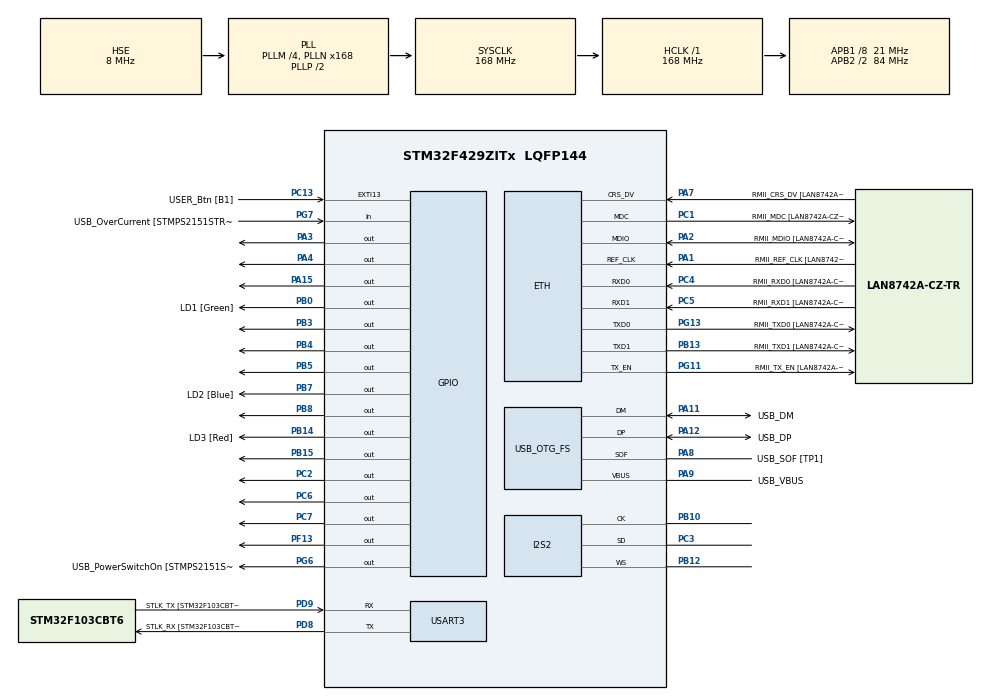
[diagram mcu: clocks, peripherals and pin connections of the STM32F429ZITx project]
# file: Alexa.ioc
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Dma.Request0=SPI2_RX
Dma.SPI2_RX.0.Direction=DMA_PERIPH_TO_MEMORY
Dma.SPI2_RX.0.FIFOMode=DMA_FIFOMODE_DISABLE
Dma.SPI2_RX.0.Instance=DMA1_Stream3
Dma.SPI2_RX.0.MemDataAlignment=DMA_MDATAALIGN_HALFWORD
Dma.SPI2_RX.0.MemInc=DMA_MINC_ENABLE
Dma.SPI2_RX.0.Mode=DMA_CIRCULAR
Dma.SPI2_RX.0.PeriphDataAlignment=DMA_PDATAALIGN_HALFWORD
Dma.SPI2_RX.0.PeriphInc=DMA_PINC_DISABLE
Dma.SPI2_RX.0.Priority=DMA_PRIORITY_HIGH
ETH.MediaInterface=HAL_ETH_RMII_MODE
ETH.PHY_Name=LAN8742A_PHY_ADDRESS
ETH.PHY_Value=0
ETH.PhyAddress=0
I2S2.AudioFreq=I2S_AUDIOFREQ_16K
I2S2.DataFormat=I2S_DATAFORMAT_24B
I2S2.ErrorAudioFreq=-0.26 %
I2S2.FullDuplexMode=I2S_FULLDUPLEXMODE_DISABLE
I2S2.Instance=SPI$Index
I2S2.Mode=I2S_MODE_MASTER_RX
I2S2.RealAudioFreq=15.957 KHz
I2S2.VirtualMode=I2S_MODE_MASTER
Mcu.Family=STM32F4
Mcu.Name=STM32F429ZITx
Mcu.Package=LQFP144
NVIC.DMA1_Stream3_IRQn=true\:0\:0\:false\:false\:true\:false\:true\:true
NVIC.PriorityGroup=NVIC_PRIORITYGROUP_4
PA1.GPIO_Label=RMII_REF_CLK [LAN8742A-CZ-TR_REFCLK0]
PA1.Mode=RMII
PA1.Signal=ETH_REF_CLK
PA10.GPIO_Label=USB_ID
PA10.Signal=USB_OTG_FS_ID
PA11.GPIO_Label=USB_DM
PA11.Mode=Device_Only
PA11.Signal=USB_OTG_FS_DM
PA12.GPIO_Label=USB_DP
PA12.Mode=Device_Only
PA12.Signal=USB_OTG_FS_DP
PA13.GPIO_Label=TMS
PA13.Mode=Serial_Wire
PA13.Signal=SYS_JTMS-SWDIO
PA14.GPIO_Label=TCK
PA14.Mode=Serial_Wire
PA14.Signal=SYS_JTCK-SWCLK
PA15.PinState=GPIO_PIN_SET
PA15.Signal=GPIO_Output
PA2.GPIO_Label=RMII_MDIO [LAN8742A-CZ-TR_MDIO]
PA2.Mode=RMII
PA2.Signal=ETH_MDIO
PA3.PinState=GPIO_PIN_SET
PA3.Signal=GPIO_Output
PA4.PinState=GPIO_PIN_SET
PA4.Signal=GPIO_Output
PA7.GPIO_Label=RMII_CRS_DV [LAN8742A-CZ-TR_CRS_DV]
PA7.Mode=RMII
PA7.Signal=ETH_CRS_DV
PA8.GPIO_Label=USB_SOF [TP1]
PA8.Mode=Activate_SOF_FS
PA8.Signal=USB_OTG_FS_SOF
PA9.GPIO_Label=USB_VBUS
PA9.Mode=Activate_VBUS
PA9.Signal=USB_OTG_FS_VBUS
PB0.GPIO_Label=LD1 [Green]
PB0.Signal=GPIO_Output
PB10.Mode=Half_Duplex_Master
PB10.Signal=I2S2_CK
PB12.Mode=Half_Duplex_Master
PB12.Signal=I2S2_WS
PB13.GPIO_Label=RMII_TXD1 [LAN8742A-CZ-TR_TXD1]
PB13.Mode=RMII
PB13.Signal=ETH_TXD1
PB14.GPIO_Label=LD3 [Red]
PB14.PinState=GPIO_PIN_SET
PB14.Signal=GPIO_Output
PB15.PinState=GPIO_PIN_SET
PB15.Signal=GPIO_Output
PB3.PinState=GPIO_PIN_SET
PB3.Signal=GPIO_Output
PB4.PinState=GPIO_PIN_SET
PB4.Signal=GPIO_Output
PB5.PinState=GPIO_PIN_SET
PB5.Signal=GPIO_Output
PB7.GPIO_Label=LD2 [Blue]
PB7.Signal=GPIO_Output
PB8.Signal=GPIO_Output
PC1.GPIO_Label=RMII_MDC [LAN8742A-CZ-TR_MDC]
PC1.Mode=RMII
PC1.Signal=ETH_MDC
PC13.GPIO_Label=USER_Btn [B1]
PC13.Signal=GPXTI13
PC14/OSC32_IN.Mode=LSE-External-Oscillator
PC14/OSC32_IN.Signal=RCC_OSC32_IN
PC15/OSC32_OUT.Mode=LSE-External-Oscillator
PC15/OSC32_OUT.Signal=RCC_OSC32_OUT
PC2.Signal=GPIO_Output
PC3.Mode=Half_Duplex_Master
PC3.Signal=I2S2_SD
PC4.GPIO_Label=RMII_RXD0 [LAN8742A-CZ-TR_RXD0]
PC4.Mode=RMII
PC4.Signal=ETH_RXD0
PC5.GPIO_Label=RMII_RXD1 [LAN8742A-CZ-TR_RXD1]
PC5.Mode=RMII
PC5.Signal=ETH_RXD1
PC6.PinState=GPIO_PIN_SET
PC6.Signal=GPIO_Output
PC7.PinState=GPIO_PIN_SET
PC7.Signal=GPIO_Output
PD8.GPIO_Label=STLK_RX [STM32F103CBT6_PA3]
PD8.Mode=Asynchronous
PD8.Signal=USART3_TX
PD9.GPIO_Label=STLK_TX [STM32F103CBT6_PA2]
PD9.Mode=Asynchronous
PD9.Signal=USART3_RX
PF13.PinState=GPIO_PIN_SET
PF13.Signal=GPIO_Output
PG11.GPIO_Label=RMII_TX_EN [LAN8742A-CZ-TR_TXEN]
PG11.Mode=RMII
PG11.Signal=ETH_TX_EN
PG13.GPIO_Label=RMII_TXD0 [LAN8742A-CZ-TR_TXD0]
PG13.Mode=RMII
PG13.Signal=ETH_TXD0
PG6.GPIO_Label=USB_PowerSwitchOn [STMPS2151STR_EN]
PG6.Signal=GPIO_Output
PG7.GPIO_Label=USB_OverCurrent [STMPS2151STR_FAULT]
PG7.Signal=GPIO_Input
PH0/OSC_IN.GPIO_Label=MCO [STM32F103CBT6_PA8]
PH0/OSC_IN.Mode=HSE-External-Clock-Source
PH0/OSC_IN.Signal=RCC_OSC_IN
PH1/OSC_OUT.Mode=HSE-External-Clock-Source
PH1/OSC_OUT.Signal=RCC_OSC_OUT
ProjectManager.HeapSize=0x200
ProjectManager.StackSize=0x400
ProjectManager.TargetToolchain=STM32CubeIDE
RCC.48MHZClocksFreq_Value=48000000
RCC.AHBFreq_Value=168000000
RCC.APB1CLKDivider=RCC_HCLK_DIV8
RCC.APB1Freq_Value=21000000
RCC.APB1TimFreq_Value=42000000
RCC.APB2CLKDivider=RCC_HCLK_DIV2
RCC.APB2Freq_Value=84000000
RCC.APB2TimFreq_Value=168000000
RCC.CortexFreq_Value=168000000
RCC.HCLKFreq_Value=168000000
RCC.HSE_VALUE=8000000
RCC.HSI_VALUE=16000000
RCC.PLLM=4
RCC.PLLMUL=RCC_PLL_MUL9
RCC.PLLN=168
RCC.PLLQ=7
RCC.PRESCALERUSB=RCC_USBCLKSOURCE_PLL_DIV1_5
RCC.SYSCLKFreq_VALUE=168000000
RCC.SYSCLKSource=RCC_SYSCLKSOURCE_PLLCLK
RCC.SYSCLKSourceVirtual=RCC_SYSCLKSOURCE_PLLCLK
RCC.USBFreq_Value=48000000
RCC.VCOOutputFreq_Value=336000000
TIM4.Prescaler=420
USART3.VirtualMode=VM_ASYNC
USB_OTG_FS.VirtualMode=Device_Only
VP_TIM4_VS_ClockSourceINT.Mode=Internal
board=NUCLEO-F429ZI

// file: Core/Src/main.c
/* USER CODE BEGIN Header */
/**
  ******************************************************************************
  * @file           : main.c
  * @brief          : Main program body
  ******************************************************************************
  * @attention
  *
  * Copyright (c) 2025 STMicroelectronics.
  * All rights reserved.
  *
  * This software is licensed under terms that can be found in the LICENSE file
  * in the root directory of this software component.
  * If no LICENSE file comes with this software, it is provided AS-IS.
  *
  ******************************************************************************
  */
/* USER CODE END Header */
#include "main.h"
#include "string.h"

/* USER CODE BEGIN Includes */
#include "radio.h"

/* USER CODE END Includes */

ETH_TxPacketConfig TxConfig;
ETH_DMADescTypeDef  DMARxDscrTab[ETH_RX_DESC_CNT]; /* Ethernet Rx DMA Descriptors */
ETH_DMADescTypeDef  DMATxDscrTab[ETH_TX_DESC_CNT]; /* Ethernet Tx DMA Descriptors */

ETH_HandleTypeDef heth;

I2S_HandleTypeDef hi2s2;
DMA_HandleTypeDef hdma_spi2_rx;

TIM_HandleTypeDef htim4;

UART_HandleTypeDef huart3;

PCD_HandleTypeDef hpcd_USB_OTG_FS;

/* USER CODE BEGIN PV */

TIM_HandleTypeDef* GLOBAL_TIMER = &htim4;

/* USER CODE END PV */

void SystemClock_Config(void);
static void MX_GPIO_Init(void);
static void MX_DMA_Init(void);
static void MX_ETH_Init(void);
static void MX_USART3_UART_Init(void);
static void MX_USB_OTG_FS_PCD_Init(void);
static void MX_TIM4_Init(void);
static void MX_I2S2_Init(void);

/* USER CODE BEGIN 0 */
volatile uint16_t dmaBuffer[2*DMA_BUFFER_SIZE];
volatile int32_t audioData[AUDIO_DATA_SIZE];
volatile int32_t recording[AUDIO_DATA_SIZE];
volatile unsigned int audioWritePos = 0;
volatile unsigned int thresholdPos = 0;
volatile bool recordingProcessing = 0;
volatile bool halfCallbackDone = 0;
volatile bool keywordRecording = 0;

void circularBufferToRecording()
{
	//we must reorder the array to become usable
    int firstPart = AUDIO_DATA_SIZE - thresholdPos;

    memcpy(recording, audioData + thresholdPos, firstPart * sizeof(int32_t));
    memcpy(recording + firstPart, audioData, thresholdPos * sizeof(int32_t));
}

int32_t convertBufferToSample(const uint16_t* pBlockStart)
{
	//takes one LR block at the specified address (4*16 bits) and converts it to one mono audio sample datum (32 bit)
	//start position: address of beginning of array + halfCallbackDone*(DMA_BUFFER_SIZE/2); loop for (DMA_BUFFER_SIZE/2) values

	//use the left channel bits (ignore upper 2*16 bits)
	uint16_t highWord = pBlockStart[0]; // most significant word (MSW)
	uint16_t lowWord  = pBlockStart[1]; // least significant word (LSW)

	// shift high word to the left and combine with low word
	int32_t leftChannel = (int32_t)(highWord << 16) | lowWord;

	// 14 bit right shift to scale and correct for the sign (arithmetic shift)
	return leftChannel >> 14;

}

void saveSample(int32_t level)
{
	int curWritePos = audioWritePos % AUDIO_DATA_SIZE;
	if(level>THRESHOLD_VALUE && !keywordRecording && !recordingProcessing)
	{
		keywordRecording = 1; //we have started the recording
		thresholdPos = curWritePos; //this can be modified to be at an earlier position later on as to not cut the audio off when being triggered
	}
	else if(curWritePos==thresholdPos && keywordRecording)
	{
		recordingProcessing = 1; //we can now fully utilize the data for processing
		circularBufferToRecording();
		keywordRecording=0;
	}

	audioData[curWritePos] = level;
	audioWritePos++;
}

void visualizeAudio(int32_t level)
{
	if (level<THRESHOLD_VALUE) LightLEDs(0); //clamp to 0 as it is below the minimum
	else if (level>MAX_LEVEL) LightLEDs(10); //clamp to 10 as it is above the maximum
	else LightLEDs((uint8_t)(10 * (level-THRESHOLD_VALUE) / (MAX_LEVEL-THRESHOLD_VALUE))); // 10 times the percentage of the overshoot from the threshold
}

void bufferLoop()
{
	uint16_t* bufferStart = dmaBuffer + halfCallbackDone*DMA_BUFFER_SIZE/2; //figure out what the base address is based on which callback fires
	int32_t bufferMax = 0;
	// loop over half of the elements of the dma buffer
	for (int i=0; i<DMA_BUFFER_SIZE/2; i+=4)
	{
		int32_t sampleValue = convertBufferToSample(&bufferStart[i]);
		saveSample(sampleValue);
		if (bufferMax<sampleValue) bufferMax=sampleValue;
	}
	visualizeAudio(bufferMax);
}

void stopRecording()
{
	//error
	HAL_I2S_DMAStop(&hi2s2);
	HAL_GPIO_TogglePin(GPIOB, GPIO_PIN_14);
	HAL_GPIO_TogglePin(GPIOB, GPIO_PIN_7);
	HAL_GPIO_TogglePin(GPIOB, GPIO_PIN_0);
	HAL_Delay(250);
}

void HAL_I2S_RxHalfCpltCallback(I2S_HandleTypeDef *hi2s)
{
	//FOR DEBUGGING PURPOSES - REMOVE AFTERWARDS
	//HAL_I2S_DMAStop(&hi2s2);
	////////////////////////////////////////////

	if (halfCallbackDone) stopRecording(); //the last callback was too slow for the recording: make the buffer bigger
	if (hi2s->Instance == SPI2) // check whether the correct peripheral was triggered
	{
		bufferLoop();
	}
	halfCallbackDone = 1;
}

void HAL_I2S_RxCpltCallback(I2S_HandleTypeDef *hi2s)
{
	if (!halfCallbackDone) stopRecording(); //the last callback was too slow for the recording: make the buffer bigger
	if (hi2s->Instance == SPI2) // check whether the correct peripheral was triggered
	{
		bufferLoop();
	}
	halfCallbackDone = 0;
    // recording done
//    if (hi2s->Instance == SPI2) // I2S2
//    {
//        is_recording_complete = true;
//    }
    //is_recording_complete = true;
    //HAL_GPIO_TogglePin(GPIOB, GPIO_PIN_0);
    //HAL_GPIO_TogglePin(GPIOB, GPIO_PIN_0);
    //HAL_Delay(250);

}

/* USER CODE END 0 */

int main(void)
{

  /* MCU Configuration--------------------------------------------------------*/

  /* Reset of all peripherals, Initializes the Flash interface and the Systick. */
  HAL_Init();

  /* Configure the system clock */
  SystemClock_Config();

  /* Initialize all configured peripherals */
  MX_GPIO_Init();
  MX_DMA_Init();
  MX_ETH_Init();
  MX_USART3_UART_Init();
  MX_USB_OTG_FS_PCD_Init();
  MX_TIM4_Init();
  MX_I2S2_Init();
  /* USER CODE BEGIN 2 */

  HAL_Delay(2000); //delay for testing purposes
  HAL_I2S_Receive_DMA(&hi2s2, dmaBuffer, DMA_BUFFER_SIZE); //start the recording

  /*
  LightLEDs(0);
  delay350Microseconds(4);
  LightLEDs(2);
  delay350Microseconds(4);
  LightLEDs(4);
  delay350Microseconds(4);
  LightLEDs(6);
  delay350Microseconds(4);
  LightLEDs(8);
  delay350Microseconds(4);
  LightLEDs(10);
  */

  sendSequence(0b111111000010);
  /* USER CODE END 2 */

  /* Infinite loop */
  /* USER CODE BEGIN WHILE */
  while (1)
  {
	  if(audioWritePos>(2*AUDIO_DATA_SIZE-1))
	  {
		//FOR DEBUGGING PURPOSES - REMOVE AFTERWARDS
		  HAL_I2S_DMAStop(&hi2s2);
		  float sum = 0.0f;
		  for (int i=0; i<AUDIO_DATA_SIZE; i++)
		  {
			  sum += audioData[i];
		  }
		  float average = sum / AUDIO_DATA_SIZE;
		  HAL_I2S_DMAStop(&hi2s2);
		  // loud: -7276
		  // silent: -7852.10156;
		////////////////////////////////////////////
	  }

	  //this is the part that processes the recording
	  {
		  //LLM-function(recording)
		  recordingProcessing = 0; //we are ready for a new recording, since we have just processed the old one
	  }

	  //	  if (is_recording_complete)
	  //	  {
	  //		// Stoppt den DMA, sobald die 1-Sekunden-Aufnahme abgeschlossen ist
	  //	  HAL_GPIO_TogglePin(GPIOB, GPIO_PIN_0);
	  //
	  //	  HAL_I2S_DMAStop(&hi2s2);
	  //	  HAL_Delay(250);
	  //	  is_recording_complete = false;
	  //	  }
    /* USER CODE END WHILE */

    /* USER CODE BEGIN 3 */
	 sendSequence(0b111111000010);
  }
  /* USER CODE END 3 */
}

void SystemClock_Config(void)
{
  RCC_OscInitTypeDef RCC_OscInitStruct = {0};
  RCC_ClkInitTypeDef RCC_ClkInitStruct = {0};

  /** Configure the main internal regulator output voltage
  */
  __HAL_RCC_PWR_CLK_ENABLE();
  __HAL_PWR_VOLTAGESCALING_CONFIG(PWR_REGULATOR_VOLTAGE_SCALE1);

  /** Initializes the RCC Oscillators according to the specified parameters
  * in the RCC_OscInitTypeDef structure.
  */
  RCC_OscInitStruct.OscillatorType = RCC_OSCILLATORTYPE_HSE;
  RCC_OscInitStruct.HSEState = RCC_HSE_BYPASS;
  RCC_OscInitStruct.PLL.PLLState = RCC_PLL_ON;
  RCC_OscInitStruct.PLL.PLLSource = RCC_PLLSOURCE_HSE;
  RCC_OscInitStruct.PLL.PLLM = 4;
  RCC_OscInitStruct.PLL.PLLN = 168;
  RCC_OscInitStruct.PLL.PLLP = RCC_PLLP_DIV2;
  RCC_OscInitStruct.PLL.PLLQ = 7;
  if (HAL_RCC_OscConfig(&RCC_OscInitStruct) != HAL_OK)
  {
    Error_Handler();
  }

  /** Initializes the CPU, AHB and APB buses clocks
  */
  RCC_ClkInitStruct.ClockType = RCC_CLOCKTYPE_HCLK|RCC_CLOCKTYPE_SYSCLK
                              |RCC_CLOCKTYPE_PCLK1|RCC_CLOCKTYPE_PCLK2;
  RCC_ClkInitStruct.SYSCLKSource = RCC_SYSCLKSOURCE_PLLCLK;
  RCC_ClkInitStruct.AHBCLKDivider = RCC_SYSCLK_DIV1;
  RCC_ClkInitStruct.APB1CLKDivider = RCC_HCLK_DIV8;
  RCC_ClkInitStruct.APB2CLKDivider = RCC_HCLK_DIV2;

  if (HAL_RCC_ClockConfig(&RCC_ClkInitStruct, FLASH_LATENCY_5) != HAL_OK)
  {
    Error_Handler();
  }
}

static void MX_ETH_Init(void)
{

   static uint8_t MACAddr[6];

  heth.Instance = ETH;
  MACAddr[0] = 0x00;
  MACAddr[1] = 0x80;
  MACAddr[2] = 0xE1;
  MACAddr[3] = 0x00;
  MACAddr[4] = 0x00;
  MACAddr[5] = 0x00;
  heth.Init.MACAddr = &MACAddr[0];
  heth.Init.MediaInterface = HAL_ETH_RMII_MODE;
  heth.Init.TxDesc = DMATxDscrTab;
  heth.Init.RxDesc = DMARxDscrTab;
  heth.Init.RxBuffLen = 1524;

  if (HAL_ETH_Init(&heth) != HAL_OK)
  {
    Error_Handler();
  }

  memset(&TxConfig, 0 , sizeof(ETH_TxPacketConfig));
  TxConfig.Attributes = ETH_TX_PACKETS_FEATURES_CSUM | ETH_TX_PACKETS_FEATURES_CRCPAD;
  TxConfig.ChecksumCtrl = ETH_CHECKSUM_IPHDR_PAYLOAD_INSERT_PHDR_CALC;
  TxConfig.CRCPadCtrl = ETH_CRC_PAD_INSERT;

}

static void MX_I2S2_Init(void)
{

  hi2s2.Instance = SPI2;
  hi2s2.Init.Mode = I2S_MODE_MASTER_RX;
  hi2s2.Init.Standard = I2S_STANDARD_PHILIPS;
  hi2s2.Init.DataFormat = I2S_DATAFORMAT_24B;
  hi2s2.Init.MCLKOutput = I2S_MCLKOUTPUT_DISABLE;
  hi2s2.Init.AudioFreq = I2S_AUDIOFREQ_16K;
  hi2s2.Init.CPOL = I2S_CPOL_LOW;
  hi2s2.Init.ClockSource = I2S_CLOCK_PLL;
  hi2s2.Init.FullDuplexMode = I2S_FULLDUPLEXMODE_DISABLE;
  if (HAL_I2S_Init(&hi2s2) != HAL_OK)
  {
    Error_Handler();
  }

}

static void MX_TIM4_Init(void)
{

  TIM_ClockConfigTypeDef sClockSourceConfig = {0};
  TIM_MasterConfigTypeDef sMasterConfig = {0};

  htim4.Instance = TIM4;
  htim4.Init.Prescaler = 420;
  htim4.Init.CounterMode = TIM_COUNTERMODE_UP;
  htim4.Init.Period = 65535;
  htim4.Init.ClockDivision = TIM_CLOCKDIVISION_DIV1;
  htim4.Init.AutoReloadPreload = TIM_AUTORELOAD_PRELOAD_DISABLE;
  if (HAL_TIM_Base_Init(&htim4) != HAL_OK)
  {
    Error_Handler();
  }
  sClockSourceConfig.ClockSource = TIM_CLOCKSOURCE_INTERNAL;
  if (HAL_TIM_ConfigClockSource(&htim4, &sClockSourceConfig) != HAL_OK)
  {
    Error_Handler();
  }
  sMasterConfig.MasterOutputTrigger = TIM_TRGO_RESET;
  sMasterConfig.MasterSlaveMode = TIM_MASTERSLAVEMODE_DISABLE;
  if (HAL_TIMEx_MasterConfigSynchronization(&htim4, &sMasterConfig) != HAL_OK)
  {
    Error_Handler();
  }

}

static void MX_USART3_UART_Init(void)
{

  huart3.Instance = USART3;
  huart3.Init.BaudRate = 115200;
  huart3.Init.WordLength = UART_WORDLENGTH_8B;
  huart3.Init.StopBits = UART_STOPBITS_1;
  huart3.Init.Parity = UART_PARITY_NONE;
  huart3.Init.Mode = UART_MODE_TX_RX;
  huart3.Init.HwFlowCtl = UART_HWCONTROL_NONE;
  huart3.Init.OverSampling = UART_OVERSAMPLING_16;
  if (HAL_UART_Init(&huart3) != HAL_OK)
  {
    Error_Handler();
  }

}

static void MX_USB_OTG_FS_PCD_Init(void)
{

  hpcd_USB_OTG_FS.Instance = USB_OTG_FS;
  hpcd_USB_OTG_FS.Init.dev_endpoints = 4;
  hpcd_USB_OTG_FS.Init.speed = PCD_SPEED_FULL;
  hpcd_USB_OTG_FS.Init.dma_enable = DISABLE;
  hpcd_USB_OTG_FS.Init.phy_itface = PCD_PHY_EMBEDDED;
  hpcd_USB_OTG_FS.Init.Sof_enable = ENABLE;
  hpcd_USB_OTG_FS.Init.low_power_enable = DISABLE;
  hpcd_USB_OTG_FS.Init.lpm_enable = DISABLE;
  hpcd_USB_OTG_FS.Init.vbus_sensing_enable = ENABLE;
  hpcd_USB_OTG_FS.Init.use_dedicated_ep1 = DISABLE;
  if (HAL_PCD_Init(&hpcd_USB_OTG_FS) != HAL_OK)
  {
    Error_Handler();
  }

}

static void MX_DMA_Init(void)
{

  /* DMA controller clock enable */
  __HAL_RCC_DMA1_CLK_ENABLE();

  /* DMA interrupt init */
  /* DMA1_Stream3_IRQn interrupt configuration */
  HAL_NVIC_SetPriority(DMA1_Stream3_IRQn, 0, 0);
  HAL_NVIC_EnableIRQ(DMA1_Stream3_IRQn);

}

static void MX_GPIO_Init(void)
{
  GPIO_InitTypeDef GPIO_InitStruct = {0};

  /* GPIO Ports Clock Enable */
  __HAL_RCC_GPIOC_CLK_ENABLE();
  __HAL_RCC_GPIOH_CLK_ENABLE();
  __HAL_RCC_GPIOA_CLK_ENABLE();
  __HAL_RCC_GPIOB_CLK_ENABLE();
  __HAL_RCC_GPIOF_CLK_ENABLE();
  __HAL_RCC_GPIOD_CLK_ENABLE();
  __HAL_RCC_GPIOG_CLK_ENABLE();

  /*Configure GPIO pin Output Level */
  HAL_GPIO_WritePin(GPIOC, GPIO_PIN_2, GPIO_PIN_RESET);

  /*Configure GPIO pin Output Level */
  HAL_GPIO_WritePin(GPIOA, GPIO_PIN_3|GPIO_PIN_4|GPIO_PIN_15, GPIO_PIN_SET);

  /*Configure GPIO pin Output Level */
  HAL_GPIO_WritePin(GPIOB, LD1_Pin|LD2_Pin|GPIO_PIN_8, GPIO_PIN_RESET);

  /*Configure GPIO pin Output Level */
  HAL_GPIO_WritePin(GPIOF, GPIO_PIN_13, GPIO_PIN_SET);

  /*Configure GPIO pin Output Level */
  HAL_GPIO_WritePin(GPIOB, LD3_Pin|GPIO_PIN_15|GPIO_PIN_3|GPIO_PIN_4
                          |GPIO_PIN_5, GPIO_PIN_SET);

  /*Configure GPIO pin Output Level */
  HAL_GPIO_WritePin(USB_PowerSwitchOn_GPIO_Port, USB_PowerSwitchOn_Pin, GPIO_PIN_RESET);

  /*Configure GPIO pin Output Level */
  HAL_GPIO_WritePin(GPIOC, GPIO_PIN_6|GPIO_PIN_7, GPIO_PIN_SET);

  /*Configure GPIO pin : USER_Btn_Pin */
  GPIO_InitStruct.Pin = USER_Btn_Pin;
  GPIO_InitStruct.Mode = GPIO_MODE_IT_RISING;
  GPIO_InitStruct.Pull = GPIO_NOPULL;
  HAL_GPIO_Init(USER_Btn_GPIO_Port, &GPIO_InitStruct);

  /*Configure GPIO pins : PC2 PC6 PC7 */
  GPIO_InitStruct.Pin = GPIO_PIN_2|GPIO_PIN_6|GPIO_PIN_7;
  GPIO_InitStruct.Mode = GPIO_MODE_OUTPUT_PP;
  GPIO_InitStruct.Pull = GPIO_NOPULL;
  GPIO_InitStruct.Speed = GPIO_SPEED_FREQ_LOW;
  HAL_GPIO_Init(GPIOC, &GPIO_InitStruct);

  /*Configure GPIO pins : PA3 PA4 PA15 */
  GPIO_InitStruct.Pin = GPIO_PIN_3|GPIO_PIN_4|GPIO_PIN_15;
  GPIO_InitStruct.Mode = GPIO_MODE_OUTPUT_PP;
  GPIO_InitStruct.Pull = GPIO_NOPULL;
  GPIO_InitStruct.Speed = GPIO_SPEED_FREQ_LOW;
  HAL_GPIO_Init(GPIOA, &GPIO_InitStruct);

  /*Configure GPIO pins : LD1_Pin LD3_Pin PB15 PB3
                           PB4 PB5 LD2_Pin PB8 */
  GPIO_InitStruct.Pin = LD1_Pin|LD3_Pin|GPIO_PIN_15|GPIO_PIN_3
                          |GPIO_PIN_4|GPIO_PIN_5|LD2_Pin|GPIO_PIN_8;
  GPIO_InitStruct.Mode = GPIO_MODE_OUTPUT_PP;
  GPIO_InitStruct.Pull = GPIO_NOPULL;
  GPIO_InitStruct.Speed = GPIO_SPEED_FREQ_LOW;
  HAL_GPIO_Init(GPIOB, &GPIO_InitStruct);

  /*Configure GPIO pin : PF13 */
  GPIO_InitStruct.Pin = GPIO_PIN_13;
  GPIO_InitStruct.Mode = GPIO_MODE_OUTPUT_PP;
  GPIO_InitStruct.Pull = GPIO_NOPULL;
  GPIO_InitStruct.Speed = GPIO_SPEED_FREQ_LOW;
  HAL_GPIO_Init(GPIOF, &GPIO_InitStruct);

  /*Configure GPIO pin : USB_PowerSwitchOn_Pin */
  GPIO_InitStruct.Pin = USB_PowerSwitchOn_Pin;
  GPIO_InitStruct.Mode = GPIO_MODE_OUTPUT_PP;
  GPIO_InitStruct.Pull = GPIO_NOPULL;
  GPIO_InitStruct.Speed = GPIO_SPEED_FREQ_LOW;
  HAL_GPIO_Init(USB_PowerSwitchOn_GPIO_Port, &GPIO_InitStruct);

  /*Configure GPIO pin : USB_OverCurrent_Pin */
  GPIO_InitStruct.Pin = USB_OverCurrent_Pin;
  GPIO_InitStruct.Mode = GPIO_MODE_INPUT;
  GPIO_InitStruct.Pull = GPIO_NOPULL;
  HAL_GPIO_Init(USB_OverCurrent_GPIO_Port, &GPIO_InitStruct);

}

void Error_Handler(void)
{
  __disable_irq();
  while (1)
  {
  }
}
